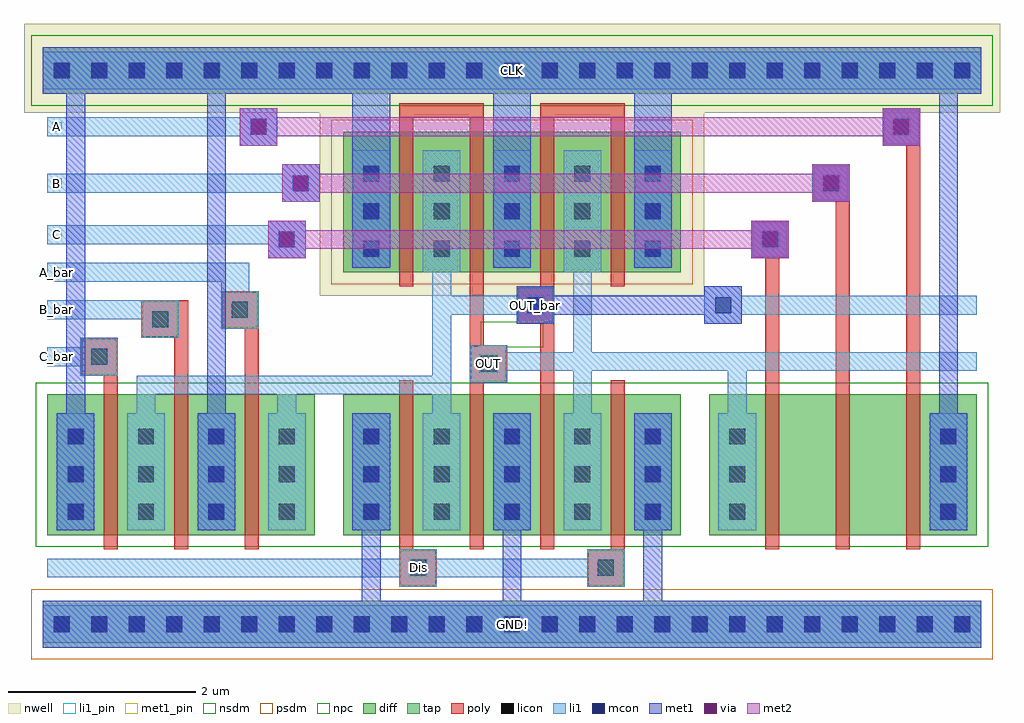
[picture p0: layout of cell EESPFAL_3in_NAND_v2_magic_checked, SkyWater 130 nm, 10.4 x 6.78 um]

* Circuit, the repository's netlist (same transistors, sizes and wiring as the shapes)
* NGSPICE file created from EESPFAL_3in_NAND_v2_magic_checked.ext - technology: sky130A

.subckt EESPFAL_3in_NAND_v2_magic_checked OUT A A_bar B B_bar C C_bar Dis OUT_bar
+ GND CLK
X0 OUT OUT_bar CLK CLK sky130_fd_pr__pfet_01v8 ad=9e+11p pd=4.2e+06u as=2.7e+12p ps=1.26e+07u w=1.5e+06u l=150000u M=2
X1 CLK OUT OUT_bar CLK sky130_fd_pr__pfet_01v8 ad=0p pd=0u as=9e+11p ps=4.2e+06u w=1.5e+06u l=150000u M=2
X2 a_n910_640# B a_n1060_640# GND sky130_fd_pr__nfet_01v8 ad=9e+11p pd=4.2e+06u as=9e+11p ps=4.2e+06u w=1.5e+06u l=150000u
X3 GND OUT OUT_bar GND sky130_fd_pr__nfet_01v8 ad=2.7e+12p pd=1.26e+07u as=2.7e+12p ps=1.26e+07u w=1.5e+06u l=150000u
X4 CLK B_bar OUT_bar GND sky130_fd_pr__nfet_01v8 ad=7.7e+12p pd=3.36e+07u as=0p ps=0u w=1.5e+06u l=150000u
X5 CLK A a_n910_640# GND sky130_fd_pr__nfet_01v8 ad=0p pd=0u as=0p ps=0u w=1.5e+06u l=150000u
X6 OUT OUT_bar GND GND sky130_fd_pr__nfet_01v8 ad=1.8e+12p pd=8.4e+06u as=0p ps=0u w=1.5e+06u l=150000u
X7 a_n1060_640# C OUT GND sky130_fd_pr__nfet_01v8 ad=0p pd=0u as=0p ps=0u w=1.5e+06u l=150000u
X8 OUT_bar Dis GND GND sky130_fd_pr__nfet_01v8 ad=0p pd=0u as=0p ps=0u w=1.5e+06u l=150000u
X9 OUT_bar A_bar CLK GND sky130_fd_pr__nfet_01v8 ad=0p pd=0u as=0p ps=0u w=1.5e+06u l=150000u
X10 OUT_bar C_bar CLK GND sky130_fd_pr__nfet_01v8 ad=0p pd=0u as=0p ps=0u w=1.5e+06u l=150000u
X11 GND Dis OUT GND sky130_fd_pr__nfet_01v8 ad=0p pd=0u as=0p ps=0u w=1.5e+06u l=150000u
.ends

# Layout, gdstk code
import gdstk
lib = gdstk.Library(unit=1e-6, precision=1e-09)
def R(c, l, rs):  # rectangles x0, y0, x1, y1
    for r in rs: c.add(gdstk.rectangle(r[:2], r[2:], *l))
def A(c, l, x, y, w, h, nx, ny, dx, dy):  # array of equal rectangles
    R(c, l, [(x+i*dx, y+j*dy, x+i*dx+w, y+j*dy+h) for i in range(nx) for j in range(ny)])
nwell = (64, 20)
diff = (65, 20)
tap = (65, 44)
poly = (66, 20)
licon = (66, 44)
li1_pin = (67, 16)
li1 = (67, 20)
mcon = (67, 44)
met1_pin = (68, 16)
met1 = (68, 20)
via = (68, 44)
met2 = (69, 20)
nsdm = (93, 44)
psdm = (94, 20)
npc = (95, 20)

eespfal_3in_nand_v2_magi = lib.new_cell('EESPFAL_3in_NAND_v2_magic_checked')
R(eespfal_3in_nand_v2_magi, nwell, [(-10.2,5.75,-6.1,7.7), (-13.35,7.7,-2.95,8.65)])
R(eespfal_3in_nand_v2_magi, diff, [(-13.1,3.2,-10.25,4.7), (-9.95,3.2,-6.35,4.7), (-6.05,3.2,-3.2,4.7), (-9.95,6,-6.35,7.5)])
R(eespfal_3in_nand_v2_magi, tap, [(-13.15,2,-3.15,2.5), (-13.15,7.9,-3.15,8.4)])
R(eespfal_3in_nand_v2_magi, poly, [(-9.35,2.65,-8.95,3.05), (-7.35,2.65,-6.95,3.05), (-12.5,3.05,-12.35,4.9), (-11.75,3.05,-11.6,5.3), (-11,3.05,-10.85,5.4), (-9.35,3.05,-9.2,4.85), (-8.6,3.05,-8.45,4.825), (-7.85,3.05,-7.7,5.45), (-7.1,3.05,-6.95,4.85), (-5.45,3.05,-5.3,6.15), (-4.7,3.05,-4.55,6.75), (-3.95,3.05,-3.8,7.35), (-8.6,4.825,-8.2,5.225), (-12.75,4.9,-12.35,5.3), (-8.6,5.225,-8.45,7.65), (-12.1,5.3,-11.6,5.7), (-11.25,5.4,-10.85,5.8), (-8.1,5.45,-7.7,5.85), (-9.35,5.85,-9.2,7.65), (-7.85,5.85,-7.7,7.65), (-7.1,5.85,-6.95,7.65), (-5.6,6.15,-5.2,6.55), (-4.95,6.75,-4.55,7.15), (-4.2,7.35,-3.8,7.75), (-9.35,7.65,-8.45,7.8), (-7.85,7.65,-6.95,7.8)])
A(eespfal_3in_nand_v2_magi, licon, -13.035, 2.165, 0.17, 0.17, 25, 2, 0.4, 5.9)
A(eespfal_3in_nand_v2_magi, licon, -12.885, 3.365, 0.17, 0.17, 4, 3, 0.75, 0.4)
A(eespfal_3in_nand_v2_magi, licon, -9.735, 3.365, 0.17, 0.17, 5, 3, 0.75, 0.4)
A(eespfal_3in_nand_v2_magi, licon, -5.835, 3.365, 0.17, 0.17, 1, 3, 0, 0.4)
A(eespfal_3in_nand_v2_magi, licon, -3.585, 3.365, 0.17, 0.17, 1, 3, 0, 0.4)
A(eespfal_3in_nand_v2_magi, licon, -9.735, 6.165, 0.17, 0.17, 5, 3, 0.75, 0.4)
R(eespfal_3in_nand_v2_magi, licon, [(-9.235,2.765,-9.065,2.935), (-7.235,2.765,-7.065,2.935), (-8.485,4.94,-8.315,5.11), (-12.635,5.015,-12.465,5.185), (-11.985,5.415,-11.815,5.585), (-11.135,5.515,-10.965,5.685), (-7.985,5.565,-7.815,5.735), (-5.485,6.265,-5.315,6.435), (-4.835,6.865,-4.665,7.035), (-4.085,7.465,-3.915,7.635)])
A(eespfal_3in_nand_v2_magi, li1_pin, -13.05, 5.55, 0.1, 0.1, 1, 3, 0, 0.4)
R(eespfal_3in_nand_v2_magi, li1_pin, [(-9.25,2.75,-9.05,2.95), (-8.5,4.925,-8.3,5.125), (-13.05,5.05,-12.95,5.15), (-13.05,6.9,-12.95,7), (-13.05,7.5,-12.95,7.6)])
A(eespfal_3in_nand_v2_magi, li1, -13, 3.25, 0.4, 1.25, 4, 1, 0.75, 0)
A(eespfal_3in_nand_v2_magi, li1, -9.85, 3.25, 0.4, 1.25, 5, 1, 0.75, 0)
A(eespfal_3in_nand_v2_magi, li1, -9.85, 6.05, 0.4, 1.25, 3, 1, 1.5, 0)
R(eespfal_3in_nand_v2_magi, li1, [(-13.15,2.05,-3.15,2.45), (-9.35,2.65,-8.95,2.75), (-7.35,2.65,-6.95,2.75), (-13.1,2.75,-6.95,2.95), (-9.35,2.95,-8.95,3.05), (-7.35,2.95,-6.95,3.05), (-5.95,3.25,-5.55,4.5), (-3.7,3.25,-3.3,4.5), (-12.15,4.5,-11.95,4.7), (-10.65,4.5,-10.45,4.7), (-9,4.5,-8.8,4.7), (-7.5,4.5,-7.3,4.95), (-5.85,4.5,-5.65,4.95), (-12.15,4.7,-8.8,4.9), (-8.6,4.825,-8.2,4.95), (-12.75,4.9,-12.35,5), (-9,4.9,-8.8,5.55), (-8.6,4.95,-3.2,5.15), (-13.1,5,-12.35,5.2), (-8.6,5.15,-8.2,5.225), (-7.5,5.15,-7.3,6), (-12.75,5.2,-12.35,5.3), (-12.1,5.3,-11.7,5.5), (-11.25,5.4,-10.85,5.8), (-8.1,5.45,-7.7,5.55), (-6.1,5.45,-5.7,5.55), (-13.1,5.5,-11.7,5.7), (-9,5.55,-7.7,5.75), (-6.1,5.55,-3.2,5.75), (-9,5.75,-8.8,6), (-8.1,5.75,-7.7,5.85), (-6.1,5.75,-5.7,5.85), (-11.25,5.8,-10.95,5.9), (-13.1,5.9,-10.95,6.1), (-9.1,6,-8.7,7.3), (-7.6,6,-7.2,7.3), (-10.75,6.15,-10.35,6.3), (-5.6,6.15,-5.2,6.55), (-13.1,6.3,-10.35,6.5), (-10.75,6.5,-10.35,6.55), (-10.6,6.75,-10.2,6.85), (-4.95,6.75,-4.55,7.15), (-13.1,6.85,-10.2,7.05), (-10.6,7.05,-10.2,7.15), (-11.05,7.35,-10.65,7.45), (-4.2,7.35,-3.8,7.75), (-13.1,7.45,-10.65,7.65), (-11.05,7.65,-10.65,7.75), (-13.15,7.95,-3.15,8.35)])
A(eespfal_3in_nand_v2_magi, mcon, -13.035, 2.165, 0.17, 0.17, 25, 2, 0.4, 5.9)
A(eespfal_3in_nand_v2_magi, mcon, -12.885, 3.365, 0.17, 0.17, 1, 3, 0, 0.4)
A(eespfal_3in_nand_v2_magi, mcon, -11.385, 3.365, 0.17, 0.17, 1, 3, 0, 0.4)
A(eespfal_3in_nand_v2_magi, mcon, -9.735, 3.365, 0.17, 0.17, 3, 3, 1.5, 0.4)
A(eespfal_3in_nand_v2_magi, mcon, -3.585, 3.365, 0.17, 0.17, 1, 3, 0, 0.4)
A(eespfal_3in_nand_v2_magi, mcon, -9.735, 6.165, 0.17, 0.17, 3, 3, 1.5, 0.4)
R(eespfal_3in_nand_v2_magi, mcon, [(-7.985,5.565,-7.815,5.735), (-5.985,5.565,-5.815,5.735), (-10.635,6.265,-10.465,6.435), (-5.485,6.265,-5.315,6.435), (-10.485,6.865,-10.315,7.035), (-4.835,6.865,-4.665,7.035), (-10.935,7.465,-10.765,7.635), (-4.085,7.465,-3.915,7.635)])
R(eespfal_3in_nand_v2_magi, met1_pin, [(-8.25,2.15,-8.05,2.35), (-8,5.55,-7.8,5.75), (-8.25,8.05,-8.05,8.25)])
A(eespfal_3in_nand_v2_magi, met1, -9.75, 2.5, 0.2, 0.75, 3, 1, 1.5, 0)
A(eespfal_3in_nand_v2_magi, met1, -9.85, 3.25, 0.4, 1.25, 3, 1, 1.5, 0)
A(eespfal_3in_nand_v2_magi, met1, -9.85, 6.05, 0.4, 1.85, 3, 1, 1.5, 0)
R(eespfal_3in_nand_v2_magi, met1, [(-13.15,2,-3.15,2.5), (-13,3.25,-12.6,4.5), (-11.5,3.25,-11.1,4.5), (-3.7,3.25,-3.3,4.5), (-12.9,4.5,-12.7,7.9), (-11.4,4.5,-11.2,7.9), (-3.6,4.5,-3.4,7.9), (-8.1,5.45,-7.7,5.55), (-6.1,5.45,-5.7,5.55), (-8.1,5.55,-5.7,5.75), (-8.1,5.75,-7.7,5.85), (-6.1,5.75,-5.7,5.85), (-10.75,6.15,-10.35,6.55), (-5.6,6.15,-5.2,6.55), (-10.6,6.75,-10.2,7.15), (-4.95,6.75,-4.55,7.15), (-11.05,7.35,-10.65,7.75), (-4.2,7.35,-3.8,7.75), (-13.15,7.9,-3.15,8.4)])
R(eespfal_3in_nand_v2_magi, via, [(-10.625,6.275,-10.475,6.425), (-5.475,6.275,-5.325,6.425), (-10.475,6.875,-10.325,7.025), (-4.825,6.875,-4.675,7.025), (-10.925,7.475,-10.775,7.625), (-4.075,7.475,-3.925,7.625)])
R(eespfal_3in_nand_v2_magi, met2, [(-10.75,6.15,-10.35,6.25), (-5.6,6.15,-5.2,6.25), (-10.75,6.25,-5.2,6.45), (-10.75,6.45,-10.35,6.55), (-5.6,6.45,-5.2,6.55), (-10.6,6.75,-10.2,6.85), (-4.95,6.75,-4.55,6.85), (-10.6,6.85,-4.55,7.05), (-10.6,7.05,-10.2,7.15), (-4.95,7.05,-4.55,7.15), (-11.05,7.35,-10.65,7.45), (-4.2,7.35,-3.8,7.45), (-11.05,7.45,-3.8,7.65), (-11.05,7.65,-10.65,7.75), (-4.2,7.65,-3.8,7.75)])
R(eespfal_3in_nand_v2_magi, nsdm, [(-13.225,3.075,-3.075,4.825), (-13.275,7.775,-3.025,8.525)])
R(eespfal_3in_nand_v2_magi, psdm, [(-13.275,1.875,-3.025,2.625), (-10.075,5.875,-6.225,7.625)])
R(eespfal_3in_nand_v2_magi, npc, [(-9.335,2.665,-8.965,3.035), (-7.335,2.665,-6.965,3.035), (-8.585,4.84,-8.215,5.2), (-12.735,4.915,-12.365,5.285), (-8.585,5.2,-7.815,5.21), (-8.485,5.21,-7.815,5.465), (-12.085,5.315,-11.715,5.685), (-11.235,5.415,-10.865,5.785), (-8.485,5.465,-7.715,5.475), (-8.085,5.475,-7.715,5.835), (-5.585,6.165,-5.215,6.535), (-4.935,6.765,-4.565,7.135), (-4.185,7.365,-3.815,7.735)])
eespfal_3in_nand_v2_magi.add(gdstk.Label('OUT', (-8.4,5.025), layer=67, texttype=16))
eespfal_3in_nand_v2_magi.add(gdstk.Label('A', (-13,7.55), layer=67, texttype=16))
eespfal_3in_nand_v2_magi.add(gdstk.Label('A_bar', (-13,6), layer=67, texttype=16))
eespfal_3in_nand_v2_magi.add(gdstk.Label('B', (-13,6.95), layer=67, texttype=16))
eespfal_3in_nand_v2_magi.add(gdstk.Label('B_bar', (-13,5.6), layer=67, texttype=16))
eespfal_3in_nand_v2_magi.add(gdstk.Label('C', (-13,6.4), layer=67, texttype=16))
eespfal_3in_nand_v2_magi.add(gdstk.Label('C_bar', (-13,5.1), layer=67, texttype=16))
eespfal_3in_nand_v2_magi.add(gdstk.Label('Dis', (-9.15,2.85), layer=67, texttype=16))
eespfal_3in_nand_v2_magi.add(gdstk.Label('OUT_bar', (-7.9,5.65), layer=68, texttype=16))
eespfal_3in_nand_v2_magi.add(gdstk.Label('GND!', (-8.15,2.25), layer=68, texttype=16))
eespfal_3in_nand_v2_magi.add(gdstk.Label('CLK', (-8.15,8.15), layer=68, texttype=16))

lib.write_gds('EESPFAL_3in_NAND_v2_magic_checked.gds')
